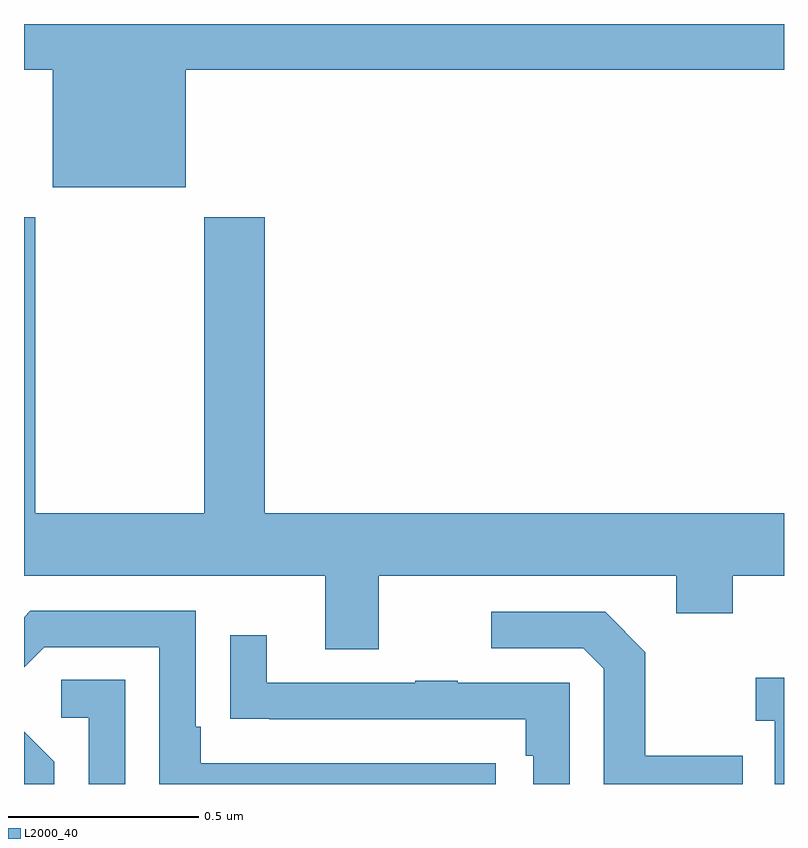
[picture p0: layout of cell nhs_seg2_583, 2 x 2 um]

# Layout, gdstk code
import gdstk
lib = gdstk.Library(unit=1e-6, precision=1e-09)
def P(c, l, *ps):  # polygons
    for p in ps: c.add(gdstk.Polygon(p, *l))
L2000_40 = (2000, 40)

nhs_seg2_583 = lib.new_cell('nhs_seg2_583')
P(nhs_seg2_583, L2000_40, [(118.426,603.68),(120,603.68),(120,603.8),(118,603.8),(118,603.68),(118.076,603.68),(118.076,603.371),(118.426,603.371)],
  [(118.933,602.348),(119.717,602.348),(119.717,602.249),(119.865,602.249),(119.865,602.348),(120,602.348),(120,602.512),(118.634,602.512),(118.634,603.292),(118.474,603.292),(118.474,602.512),(118.029,602.512),(118.029,603.292),(118,603.292),(118,602.348),(118.793,602.348),(118.793,602.154),(118.933,602.154)],
  [(119.242,601.854),(118.465,601.854),(118.465,601.951),(118.452,601.951),(118.452,602.256),(118.017,602.256),(118,602.239),(118,602.107),(118.053,602.16),(118.356,602.16),(118.356,601.8),(119.242,601.8)],
  [(119.891,601.875),(119.635,601.875),(119.635,602.147),(119.529,602.253),(119.229,602.253),(119.229,602.157),(119.472,602.157),(119.526,602.103),(119.526,601.8),(119.891,601.8)],
  [(119.436,602.067),(119.141,602.067),(119.141,602.072),(119.029,602.072),(119.029,602.067),(118.639,602.067),(118.639,602.191),(118.543,602.191),(118.543,601.972),(118.645,601.972),(118.645,601.971),(119.32,601.971),(119.32,601.874),(119.34,601.874),(119.34,601.8),(119.436,601.8)],
  [(120,602.08),(119.925,602.08),(119.925,601.967),(119.976,601.967),(119.976,601.8),(120,601.8)],
  [(118.266,602.075),(118.098,602.075),(118.098,601.974),(118.17,601.974),(118.17,601.8),(118.266,601.8)],
  [(118.08,601.858),(118,601.938),(118,601.8),(118.08,601.8)])

lib.write_gds('nhs_seg2_583.gds')
